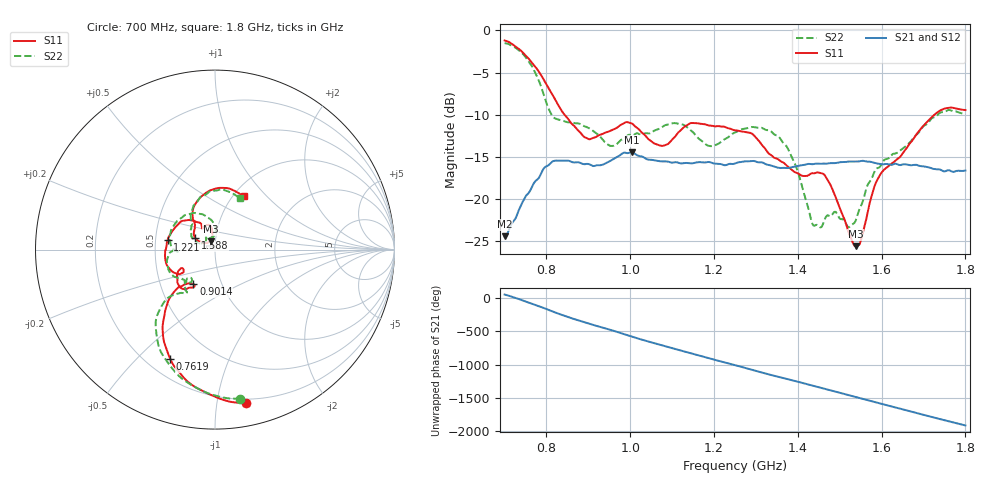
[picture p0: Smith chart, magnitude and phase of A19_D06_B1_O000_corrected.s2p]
! Created with skrf 1.9.0 (http://scikit-rf.org).
# Hz S RI R 50.0
!freq ReS11 ImS11 ReS21 ImS21 ReS12 ImS12 ReS22 ImS22
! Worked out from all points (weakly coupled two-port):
!   1601 points, 700 MHz to 1.8 GHz, reference 50 ohm
!   highest |S21| = -14.45 dB at 1.003 GHz (marker M1); lowest = -24.4 dB at 700.7 MHz (marker M2)
!   lowest |S11| = -25.6 dB at 1.538 GHz (marker M3), VSWR 1.11, Z = 47.4 + j4.45 ohm
!   |S11| at or under -10 dB: 843.3 MHz to 1.726 GHz (882.6 MHz wide, 68.7 % of centre)
!   |S22| runs from -23.4 to -1.5 dB; largest |S21 - S12| = 0.0034
!   S11 on the Smith chart (normalised r, x): 700 MHz: 0.17, -1.21; 761.9 MHz: 0.29, -0.63; 901.4 MHz: 0.73, -0.30; 1.221 GHz: 0.58, +0.07; 1.588 GHz: 0.80, +0.10; 1.8 GHz: 1.12, +0.75
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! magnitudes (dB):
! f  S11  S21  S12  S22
! 700 MHz  -1.2  -24.4  -24.2  -1.5
! 700.7 MHz  -1.2  -24.4  -24.1  -1.5
! 761.9 MHz  -3.6  -18.9  -18.8  -4.0
! 815.5 MHz  -7.7  -15.5  -15.6  -10.2
! 883.6 MHz  -12.3  -15.8  -15.7  -11.2
! 901.4 MHz  -12.9  -15.8  -15.8  -11.6
! 953.7 MHz  -11.9  -15.4  -15.4  -13.7
! 1.003 GHz  -11.0  -14.4  -14.6  -12.4
! 1.067 GHz  -13.6  -15.5  -15.4  -11.7
! 1.144 GHz  -11.0  -15.8  -15.7  -11.8
! 1.221 GHz  -11.4  -15.9  -16.0  -13.0
! 1.25 GHz  -11.8  -15.8  -15.7  -12.1
! 1.357 GHz  -15.4  -16.3  -16.2  -12.7
! 1.395 GHz  -16.8  -16.1  -16.1  -16.1
! 1.434 GHz  -16.9  -15.9  -15.8  -22.8
! 1.471 GHz  -17.7  -15.8  -15.8  -21.9
! 1.538 GHz  -25.6  -15.5  -15.5  -22.5
! 1.551 GHz  -24.8  -15.5  -15.5  -20.7
! 1.588 GHz  -17.9  -15.7  -15.7  -16.4
! 1.617 GHz  -16.1  -15.9  -15.8  -15.1
! 1.733 GHz  -9.7  -16.5  -16.5  -10.1
! 1.8 GHz  -9.4  -16.6  -16.6  -9.9
